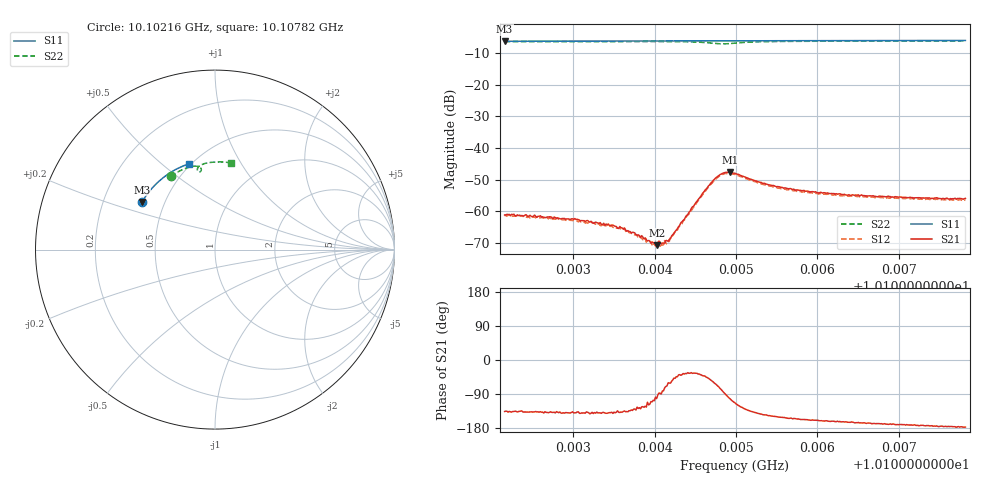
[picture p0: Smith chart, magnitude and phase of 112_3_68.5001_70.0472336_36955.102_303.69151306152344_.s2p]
#  HZ  S  RI  R  50.00
! Rohde & Schwarz Vector Network Analyzer
! Rohde-Schwarz,ZNB20-2Port,1311601062101988,3.16
! Created: UTC 3/20/2024, 5:08:45 PM
! freq[Hz]  re:S11  im:S11  re:S21  im:S21  re:S12  im:S12  re:S22  im:S22
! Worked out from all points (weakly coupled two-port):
!   401 points, 10.10216 GHz to 10.10782 GHz, reference 50 ohm
!   highest |S21| = -47.58 dB at 10.10493 GHz (marker M1); lowest = -70.7 dB at 10.10402 GHz (marker M2)
!   lowest |S11| = -6.3 dB at 10.10216 GHz (marker M3), VSWR 2.89, Z = 18.7 + j13 ohm
!   |S11| at or under -10 dB: nowhere
!   |S22| runs from -7.1 to -6.2 dB; largest |S21 - S12| = 0.00047
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1.0102155e10  -0.406 0.266  -0.000631 -0.000611  -0.00057 -0.000638  -0.2474 0.4086
1.0102707e10  -0.388 0.2944  -0.000612 -0.000551  -0.000557 -0.000565  -0.2167 0.4275
1.0103104e10  -0.3739 0.314  -0.000549 -0.000464  -0.00051 -0.000466  -0.1934 0.4396
1.0103444e10  -0.3611 0.3302  -0.000451 -0.000393  -0.000398 -0.000405  -0.1724 0.449
1.0103599e10  -0.3551 0.3373  -0.000408 -0.000368  -0.00034 -0.000388  -0.1623 0.453
1.0103939e10  -0.3411 0.3526  -0.000153 -0.000302  -0.000101 -0.00032  -0.139 0.4605
1.0103996e10  -0.3387 0.3551  -9.6e-05 -0.000307  -4.53e-05 -0.000306  -0.1352 0.4616
1.0104024e10  -0.3375 0.3563  -5.93e-05 -0.000286  4.09e-06 -0.000287  -0.133 0.4621
1.0104052e10  -0.3363 0.3577  1.69e-05 -0.00034  4.56e-05 -0.00029  -0.1309 0.4626
1.0104109e10  -0.334 0.3601  4.86e-05 -0.000313  8.86e-05 -0.000286  -0.1266 0.4635
1.0104165e10  -0.3315 0.3627  0.00017 -0.000295  0.000176 -0.000284  -0.1221 0.4643
1.0104194e10  -0.3303 0.3637  0.00018 -0.000326  0.000229 -0.000329  -0.1198 0.4646
1.0104604e10  -0.3121 0.3806  0.00151 -0.00136  0.00157 -0.00118  -0.0822 0.4573
1.0104746e10  -0.3056 0.3863  0.00153 -0.00298  0.00171 -0.00268  -0.0766 0.4412
1.0104845e10  -0.3011 0.39  0.000362 -0.00403  0.000723 -0.0038  -0.0857 0.433
1.010493e10  -0.2973 0.3933  -0.000945 -0.00407  -0.000561 -0.00391  -0.0953 0.437
1.0104986e10  -0.2947 0.3955  -0.00158 -0.00368  -0.00121 -0.00363  -0.0981 0.4432
1.0105411e10  -0.2744 0.4114  -0.0022 -0.00143  -0.00199 -0.00154  -0.0737 0.4739
1.0105935e10  -0.2482 0.4291  -0.00191 -0.000764  -0.00175 -0.000867  -0.0356 0.4841
1.0106374e10  -0.2254 0.4427  -0.00174 -0.000487  -0.00164 -0.000622  -0.00582 0.4876
1.0106883e10  -0.1979 0.4569  -0.00169 -0.000316  -0.00155 -0.00045  0.028 0.4885
1.0107817e10  -0.1454 0.4782  -0.0016 -8.33e-05  -0.00148 -0.000202  0.0884 0.4836
